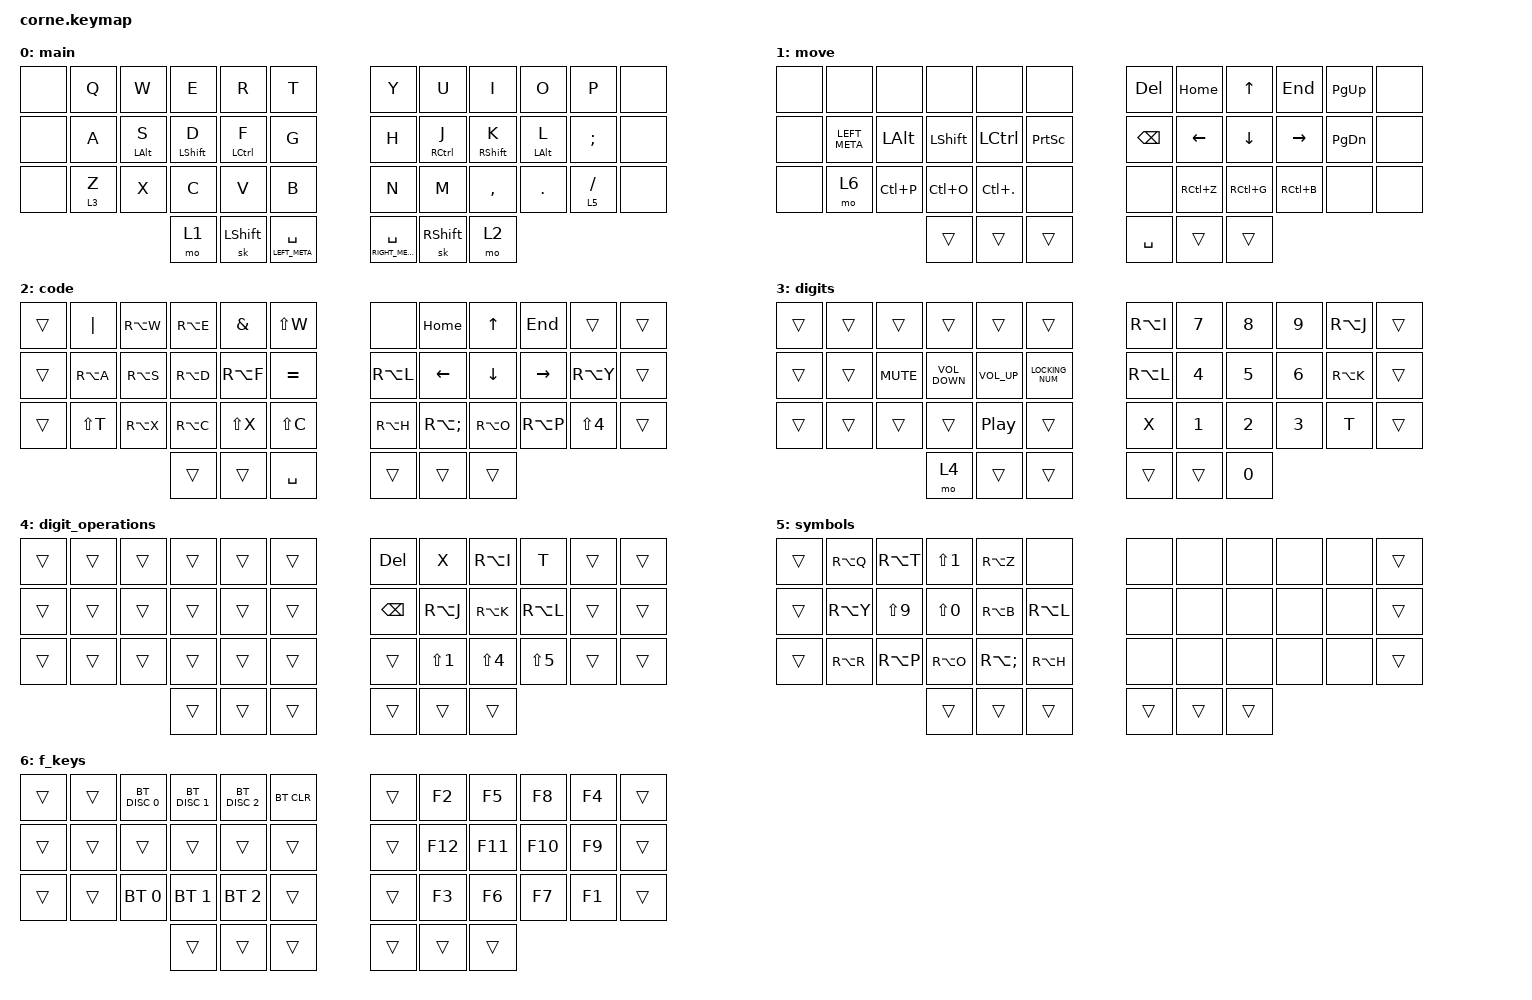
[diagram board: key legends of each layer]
/*
 * Copyright (c) 2020 The ZMK Contributors
 *
 * SPDX-License-Identifier: MIT
 */

#include <behaviors.dtsi>
#include <dt-bindings/zmk/bt.h>
#include <dt-bindings/zmk/keys.h>

&mt {
    tapping-term-ms = <225>;
    flavor = "tap-preferred";
};

&sk { quick-release; };

/ {
    combos {
        compatible = "zmk,combos";

        Enter {
            bindings = <&kp ENTER>;
            key-positions = <32 33>;
            layers = <0 1 2>;
        };

        Tab {
            bindings = <&kp TAB>;
            key-positions = <31 33>;
            layers = <0 1 2>;
        };

        Esc {
            bindings = <&kp ESCAPE>;
            key-positions = <9 7>;
            layers = <0 2 1>;
        };

        Bootloader {
            bindings = <&bootloader>;
            key-positions = <4 28 1 25>;
            layers = <0>;
        };

        Caps {
            bindings = <&kp CAPS>;
            key-positions = <37 40>;
            layers = <0>;
        };
    };

    keymap {
        compatible = "zmk,keymap";

        main {
            bindings = <
&none  &kp Q    &kp W           &kp E             &kp R           &kp T                  &kp Y                 &kp U            &kp I              &kp O           &kp P        &none
&none  &kp A    &mt LEFT_ALT S  &mt LEFT_SHIFT D  &mt LCTRL F     &kp G                  &kp H                 &mt RCTRL J      &mt RIGHT_SHIFT K  &mt LEFT_ALT L  &kp SEMI     &none
&none  &lt 3 Z  &kp X           &kp C             &kp V           &kp B                  &kp N                 &kp M            &kp COMMA          &kp DOT         &lt 5 SLASH  &none
                                &mo 1             &sk LEFT_SHIFT  &mt LEFT_META SPACE    &mt RIGHT_META SPACE  &sk RIGHT_SHIFT  &mo 2
            >;
        };

        move {
            bindings = <
&none  &none          &none         &none           &none           &none              &kp DELETE     &kp HOME   &kp UP_ARROW  &kp END    &kp PAGE_UP    &none
&none  &kp LEFT_META  &kp LEFT_ALT  &kp LEFT_SHIFT  &kp LCTRL       &kp PRINTSCREEN    &kp BACKSPACE  &kp LEFT   &kp DOWN      &kp RIGHT  &kp PAGE_DOWN  &none
&none  &mo 6          &kp LC(P)     &kp LC(O)       &kp LC(PERIOD)  &none              &none          &kp RC(Z)  &kp RC(G)     &kp RC(B)  &none          &none
                                    &trans          &trans          &trans             &kp SPACE      &trans     &trans
            >;
        };

        code {
            bindings = <
&trans  &kp PIPE   &kp RA(W)  &kp RA(E)  &kp AMPERSAND  &kp LS(W)    &none      &kp HOME      &kp UP_ARROW    &kp END    &trans            &trans
&trans  &kp RA(A)  &kp RA(S)  &kp RA(D)  &kp RA(F)      &kp EQUAL    &kp RA(L)  &kp LEFT      &kp DOWN_ARROW  &kp RIGHT  &kp RA(Y)         &trans
&trans  &kp LS(T)  &kp RA(X)  &kp RA(C)  &kp LS(X)      &kp LS(C)    &kp RA(H)  &kp RA(SEMI)  &kp RA(O)       &kp RA(P)  &kp LS(NUMBER_4)  &trans
                              &trans     &trans         &kp SPACE    &trans     &trans        &trans
            >;
        };

        digits {
            bindings = <
&trans  &trans  &trans      &trans             &trans           &trans             &kp RA(I)  &kp N7  &kp N8  &kp N9  &kp RA(J)  &trans
&trans  &trans  &kp K_MUTE  &kp C_VOLUME_DOWN  &kp C_VOLUME_UP  &kp LOCKING_NUM    &kp RA(L)  &kp N4  &kp N5  &kp N6  &kp RA(K)  &trans
&trans  &trans  &trans      &trans             &kp C_PP         &trans             &kp X      &kp N1  &kp N2  &kp N3  &kp T      &trans
                            &mo 4              &trans           &trans             &trans     &trans  &kp N0
            >;
        };

        digit_operations {
            bindings = <
&trans  &trans  &trans  &trans  &trans  &trans    &kp DELETE     &kp X             &kp RA(I)         &kp T       &trans  &trans
&trans  &trans  &trans  &trans  &trans  &trans    &kp BACKSPACE  &kp RA(J)         &kp RA(K)         &kp RA(L)   &trans  &trans
&trans  &trans  &trans  &trans  &trans  &trans    &trans         &kp LS(NUMBER_1)  &kp LS(NUMBER_4)  &kp LS(N5)  &trans  &trans
                        &trans  &trans  &trans    &trans         &trans            &trans
            >;
        };

        symbols {
            bindings = <
&trans  &kp RA(Q)  &kp RA(T)   &kp LS(NUMBER_1)  &kp RA(Z)     &none        &none   &none   &none   &none  &none  &trans
&trans  &kp RA(Y)  &kp LS(N9)  &kp LS(N0)        &kp RA(B)     &kp RA(L)    &none   &none   &none   &none  &none  &trans
&trans  &kp RA(R)  &kp RA(P)   &kp RA(O)         &kp RA(SEMI)  &kp RA(H)    &none   &none   &none   &none  &none  &trans
                               &trans            &trans        &trans       &trans  &trans  &trans
            >;
        };

        f_keys {
            bindings = <
&trans  &trans  &bt BT_DISC 0  &bt BT_DISC 1  &bt BT_DISC 2  &bt BT_CLR    &trans  &kp F2   &kp F5   &kp F8   &kp F4  &trans
&trans  &trans  &trans         &trans         &trans         &trans        &trans  &kp F12  &kp F11  &kp F10  &kp F9  &trans
&trans  &trans  &bt BT_SEL 0   &bt BT_SEL 1   &bt BT_SEL 2   &trans        &trans  &kp F3   &kp F6   &kp F7   &kp F1  &trans
                               &trans         &trans         &trans        &trans  &trans   &trans
            >;
        };
    };
};
